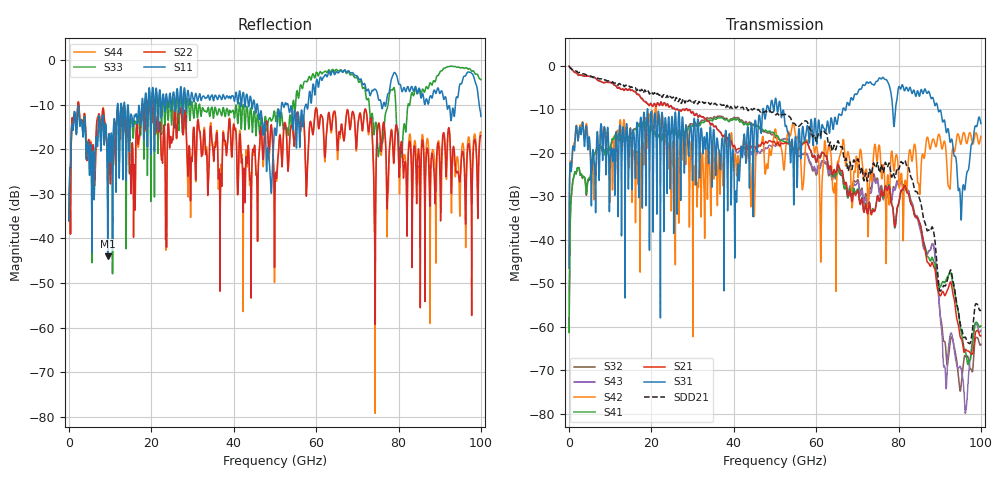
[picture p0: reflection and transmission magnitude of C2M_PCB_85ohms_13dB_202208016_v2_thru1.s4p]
! Info: Touchstone file created by Circ.  Input file=Intel_C2M_200G_3p0in_202208016_staggered.circ
# Hz S RI R 50
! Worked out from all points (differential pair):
!   10000 points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, 10 MHz to 100 GHz, reference 50 ohm
!   strongest paths, dB at 10 MHz, 25.01 GHz, 50.01 GHz, 75.01 GHz, 100 GHz:
!     S31: -46.5, -11.7, -8.0, -3.4, -13.3
!     S21: -0.1, -9.7, -17.8, -30.0, -62.1
!     S41: -61.3, -15.1, -16.0, -30.0, -59.8
!     S42: -46.5, -20.0, -14.7, -20.2, -16.3
!     S43: -0.1, -9.7, -18.5, -27.0, -60.8
!     S32: -61.3, -14.6, -16.5, -26.5, -64.1
!   taken as a pair (ports 1,3 in; 2,4 out), SDD21 dB: -0.1, -7.5, -11.2, -22.6, -56.1
!   lowest |S11| = -44.0 dB at 9.38 GHz (marker M1), VSWR 1.01, Z = 49.8 - j0.582 ohm
!   |S11| at or under -10 dB: start of sweep to 11.74 GHz; 45.75 GHz to 51.57 GHz (5.82 GHz wide, 12 % of centre); 53.18 GHz to 57.46 GHz (4.28 GHz wide, 7.74 % of centre)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
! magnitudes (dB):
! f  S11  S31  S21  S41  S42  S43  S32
! 10 MHz  -36.0  -46.5  -0.1  -61.3  -46.5  -0.1  -61.3
! 1.26 GHz  -11.7  -19.5  -1.5  -25.1  -17.8  -1.5  -25.1
! 9.38 GHz  -44.0  -14.2  -3.9  -19.5  -15.3  -3.9  -19.2
! 80.83 GHz  -7.1  -4.5  -28.6  -28.8  -25.9  -27.2  -26.9
! 91.33 GHz  -8.2  -13.4  -52.8  -49.8  -17.9  -70.0  -63.8
! 95.03 GHz  -5.3  -31.2  -62.5  -60.3  -18.0  -69.2  -74.8
! 100 GHz  -12.6  -13.3  -62.1  -59.8  -16.3  -60.8  -64.1
